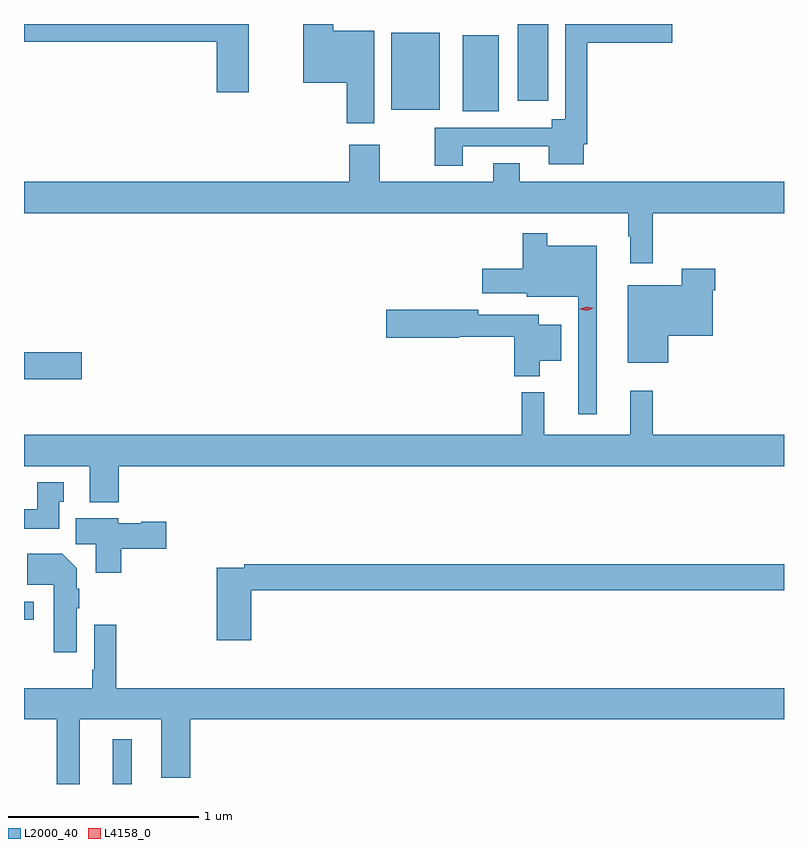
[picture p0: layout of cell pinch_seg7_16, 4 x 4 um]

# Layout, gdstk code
import gdstk
lib = gdstk.Library(unit=1e-6, precision=1e-09)
def R(c, l, rs):  # rectangles x0, y0, x1, y1
    for r in rs: c.add(gdstk.rectangle(r[:2], r[2:], *l))
def P(c, l, *ps):  # polygons
    for p in ps: c.add(gdstk.Polygon(p, *l))
L2000_40 = (2000, 40)
L4158_0 = (4158, 0)

pinch_seg7_16 = lib.new_cell('pinch_seg7_16')
R(pinch_seg7_16, L2000_40, [(1020.596,1073.535,1020.694,1073.77), (1020.128,1074.399,1020.178,1074.495), (1020.128,1075.666,1020.433,1075.808), (1022.438,1077.077,1022.626,1077.475), (1022.06,1077.083,1022.317,1077.49), (1022.726,1077.132,1022.887,1077.535)])
P(pinch_seg7_16, L2000_40, [(1021.972,1077.499),(1021.756,1077.499),(1021.756,1077.535),(1021.598,1077.535),(1021.598,1077.227),(1021.826,1077.227),(1021.826,1077.012),(1021.972,1077.012)],
  [(1021.312,1077.535),(1020.128,1077.535),(1020.128,1077.442),(1021.142,1077.442),(1021.142,1077.177),(1021.312,1077.177)],
  [(1022.437,1076.892),(1022.891,1076.892),(1022.891,1076.798),(1023.073,1076.798),(1023.073,1076.902),(1023.092,1076.902),(1023.092,1077.437),(1023.541,1077.437),(1023.541,1077.535),(1022.976,1077.535),(1022.976,1077.034),(1022.906,1077.034),(1022.906,1076.988),(1022.29,1076.988),(1022.29,1076.79),(1022.437,1076.79)],
  [(1023.437,1076.54),(1024.128,1076.54),(1024.128,1076.704),(1022.737,1076.704),(1022.737,1076.803),(1022.597,1076.803),(1022.597,1076.704),(1022.001,1076.704),(1022.001,1076.899),(1021.841,1076.899),(1021.841,1076.704),(1020.128,1076.704),(1020.128,1076.54),(1023.309,1076.54),(1023.309,1076.417),(1023.32,1076.417),(1023.32,1076.277),(1023.437,1076.277)],
  [(1023.142,1076.368),(1022.881,1076.368),(1022.881,1076.434),(1022.752,1076.434),(1022.752,1076.247),(1022.541,1076.247),(1022.541,1076.117),(1022.775,1076.117),(1022.775,1076.099),(1023.045,1076.099),(1023.045,1075.482),(1023.142,1075.482)],
  [(1023.52,1075.895),(1023.754,1075.895),(1023.754,1076.135),(1023.767,1076.135),(1023.767,1076.248),(1023.589,1076.248),(1023.589,1076.161),(1023.305,1076.161),(1023.305,1075.751),(1023.52,1075.751)],
  [(1022.842,1075.763),(1022.956,1075.763),(1022.956,1075.951),(1022.836,1075.951),(1022.836,1076.004),(1022.518,1076.004),(1022.518,1076.03),(1022.034,1076.03),(1022.034,1075.883),(1022.418,1075.883),(1022.418,1075.888),(1022.708,1075.888),(1022.708,1075.682),(1022.842,1075.682)],
  [(1020.626,1075.208),(1024.128,1075.208),(1024.128,1075.372),(1023.437,1075.372),(1023.437,1075.606),(1023.32,1075.606),(1023.32,1075.372),(1022.867,1075.372),(1022.867,1075.597),(1022.749,1075.597),(1022.749,1075.372),(1020.128,1075.372),(1020.128,1075.208),(1020.473,1075.208),(1020.473,1075.019),(1020.626,1075.019)],
  [(1020.313,1075.02),(1020.337,1075.02),(1020.337,1075.123),(1020.197,1075.123),(1020.197,1074.982),(1020.128,1074.982),(1020.128,1074.878),(1020.313,1074.878)],
  [(1020.641,1074.773),(1020.877,1074.773),(1020.877,1074.915),(1020.744,1074.915),(1020.744,1074.907),(1020.624,1074.907),(1020.624,1074.934),(1020.401,1074.934),(1020.401,1074.796),(1020.506,1074.796),(1020.506,1074.648),(1020.641,1074.648)],
  [(1020.406,1074.46),(1020.419,1074.46),(1020.419,1074.563),(1020.406,1074.563),(1020.406,1074.67),(1020.328,1074.748),(1020.145,1074.748),(1020.145,1074.584),(1020.284,1074.584),(1020.284,1074.228),(1020.406,1074.228)],
  [(1021.325,1074.556),(1024.128,1074.556),(1024.128,1074.692),(1021.288,1074.692),(1021.288,1074.672),(1021.142,1074.672),(1021.142,1074.291),(1021.325,1074.291)],
  [(1020.421,1073.876),(1020.851,1073.876),(1020.851,1073.567),(1021.004,1073.567),(1021.004,1073.876),(1024.128,1073.876),(1024.128,1074.04),(1020.614,1074.04),(1020.614,1074.373),(1020.498,1074.373),(1020.498,1074.136),(1020.486,1074.136),(1020.486,1074.04),(1020.128,1074.04),(1020.128,1073.876),(1020.3,1073.876),(1020.3,1073.535),(1020.421,1073.535)])
P(pinch_seg7_16, L4158_0, [(1023.091,1076.027),(1023.056,1076.035),(1023.056,1076.035),(1023.056,1076.036),(1023.091,1076.047),(1023.126,1076.038),(1023.126,1076.038),(1023.126,1076.038)])

lib.write_gds('pinch_seg7_16.gds')
